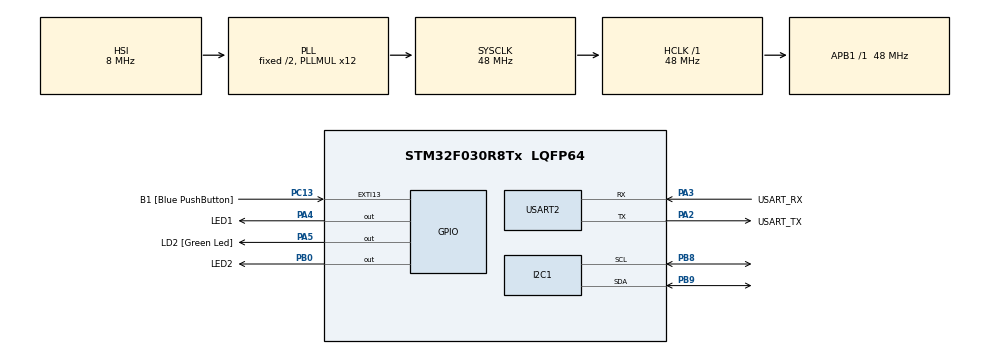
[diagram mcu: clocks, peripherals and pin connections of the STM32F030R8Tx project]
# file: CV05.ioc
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Dma.Request0=USART2_RX
Dma.USART2_RX.0.Direction=DMA_PERIPH_TO_MEMORY
Dma.USART2_RX.0.Instance=DMA1_Channel5
Dma.USART2_RX.0.MemDataAlignment=DMA_MDATAALIGN_BYTE
Dma.USART2_RX.0.MemInc=DMA_MINC_ENABLE
Dma.USART2_RX.0.Mode=DMA_CIRCULAR
Dma.USART2_RX.0.PeriphDataAlignment=DMA_PDATAALIGN_BYTE
Dma.USART2_RX.0.PeriphInc=DMA_PINC_DISABLE
Dma.USART2_RX.0.Priority=DMA_PRIORITY_LOW
I2C1.Timing=0x00201D2B
Mcu.Family=STM32F0
Mcu.Name=STM32F030R8Tx
Mcu.Package=LQFP64
NVIC.DMA1_Channel4_5_IRQn=true\:0\:0\:false\:false\:true\:false\:true\:true
PA13.GPIO_Label=TMS
PA13.Mode=Serial_Wire
PA13.Signal=SYS_SWDIO
PA14.GPIO_Label=TCK
PA14.Mode=Serial_Wire
PA14.Signal=SYS_SWCLK
PA2.GPIO_Label=USART_TX
PA2.GPIO_Mode=GPIO_MODE_AF_PP
PA2.GPIO_PuPd=GPIO_NOPULL
PA2.GPIO_Speed=GPIO_SPEED_FREQ_LOW
PA2.Mode=Asynchronous
PA2.Signal=USART2_TX
PA3.GPIO_Label=USART_RX
PA3.GPIO_Mode=GPIO_MODE_AF_PP
PA3.GPIO_PuPd=GPIO_NOPULL
PA3.GPIO_Speed=GPIO_SPEED_FREQ_LOW
PA3.Mode=Asynchronous
PA3.Signal=USART2_RX
PA4.GPIO_Label=LED1
PA4.Signal=GPIO_Output
PA5.GPIO_Label=LD2 [Green Led]
PA5.GPIO_Mode=GPIO_MODE_OUTPUT_PP
PA5.GPIO_PuPd=GPIO_NOPULL
PA5.GPIO_Speed=GPIO_SPEED_FREQ_LOW
PA5.Signal=GPIO_Output
PB0.GPIO_Label=LED2
PB0.Signal=GPIO_Output
PB8.Mode=I2C
PB8.Signal=I2C1_SCL
PB9.Mode=I2C
PB9.Signal=I2C1_SDA
PC13.GPIO_Label=B1 [Blue PushButton]
PC13.GPIO_ModeDefaultEXTI=GPIO_MODE_IT_FALLING
PC13.Signal=GPXTI13
PC14-OSC32_IN.Mode=LSE-External-Oscillator
PC14-OSC32_IN.Signal=RCC_OSC32_IN
PC15-OSC32_OUT.Mode=LSE-External-Oscillator
PC15-OSC32_OUT.Signal=RCC_OSC32_OUT
PF0-OSC_IN.Mode=HSE-External-Clock-Source
PF0-OSC_IN.Signal=RCC_OSC_IN
PF1-OSC_OUT.Signal=RCC_OSC_OUT
ProjectManager.HeapSize=0x200
ProjectManager.StackSize=0x400
ProjectManager.TargetToolchain=STM32CubeIDE
RCC.AHBFreq_Value=48000000
RCC.APB1Freq_Value=48000000
RCC.APB1TimFreq_Value=48000000
RCC.HCLKFreq_Value=48000000
RCC.PLLMUL=RCC_PLL_MUL12
RCC.SYSCLKFreq_VALUE=48000000
RCC.SYSCLKSource=RCC_SYSCLKSOURCE_PLLCLK
USART2.VirtualMode-Asynchronous=VM_ASYNC
board=NUCLEO-F030R8

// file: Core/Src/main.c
/* USER CODE BEGIN Header */
/**
  ******************************************************************************
  * @file           : main.c
  * @brief          : Main program body
  ******************************************************************************
  * @attention
  *
  * Copyright (c) 2024 STMicroelectronics.
  * All rights reserved.
  *
  * This software is licensed under terms that can be found in the LICENSE file
  * in the root directory of this software component.
  * If no LICENSE file comes with this software, it is provided AS-IS.
  *
  ******************************************************************************
  */
/* USER CODE END Header */
#include "main.h"

/* USER CODE BEGIN Includes */
#include "stdio.h"
#include "string.h"
#include "stdlib.h"
/* USER CODE END Includes */

/* USER CODE BEGIN PD */
#define RX_BUFFER_LEN 64
static uint8_t uart_rx_buf[RX_BUFFER_LEN];
static volatile uint16_t uart_rx_read_ptr = 0;
#define uart_rx_write_ptr (RX_BUFFER_LEN - hdma_usart2_rx.Instance->CNDTR)
#define CMD_BUFFER_LEN 256
#define EEPROM_ADDR 0xA0
/* USER CODE END PD */

I2C_HandleTypeDef hi2c1;

UART_HandleTypeDef huart2;
DMA_HandleTypeDef hdma_usart2_rx;

void SystemClock_Config(void);
static void MX_GPIO_Init(void);
static void MX_DMA_Init(void);
static void MX_USART2_UART_Init(void);
static void MX_I2C1_Init(void);

/* USER CODE BEGIN 0 */
int _write(int file, char const *buf, int n)
{
	/* stdout redirection to UART2 */
	HAL_UART_Transmit(&huart2, (uint8_t*)(buf), n, HAL_MAX_DELAY);
	return n;
}

void uart_process_command(char * cmd)
{
	printf("received: '%s'\n", cmd);

	char *token;
	token = strtok(cmd, " ");
	if (strcasecmp(token, "HELLO") == 0) {
		printf("Communication OK\n");
	}
	else if (strcasecmp(token, "LED1") == 0) {
		token = strtok(NULL, " ");
		if (strcasecmp(token, "ON") == 0) {
			HAL_GPIO_WritePin(LED1_GPIO_Port,LED1_Pin,1);
		}
		else if (strcasecmp(token, "OFF") == 0) {
			HAL_GPIO_WritePin(LED1_GPIO_Port,LED1_Pin,0);
		}
		printf("OK\n");
	}
	else if (strcasecmp(token, "LED2") == 0){
		token = strtok(NULL, " ");
		if(strcasecmp(token, "ON") == 0){
			HAL_GPIO_WritePin(LED2_GPIO_Port,LED2_Pin,1);
		}
		else if (strcasecmp(token, "OFF") == 0) {
			HAL_GPIO_WritePin(LED2_GPIO_Port,LED2_Pin,0);
		}
		printf("OK\n");
	}
	else if(strcasecmp(token, "status") == 0){
		uint32_t status_LED1 = HAL_GPIO_ReadPin(LED1_GPIO_Port, LED1_Pin);
		uint32_t status_LED2 = HAL_GPIO_ReadPin(LED2_GPIO_Port, LED2_Pin);
		printf("LEDs status is %s %s\n", status_LED1 ? "on" : "off", status_LED2 ? "on" : "off");
	}

	/*I2C*/
	else if(strcasecmp(token, "READ") == 0){
		token = strtok(NULL, " ");
		uint16_t  addr = atoi(token);
		uint8_t value = 0;
		HAL_I2C_Mem_Read(&hi2c1, EEPROM_ADDR, addr, I2C_MEMADD_SIZE_16BIT, &value, 1, 1000);
		printf("Adress 0x%04X = 0x%02X\n", addr,value);
	}
	else if(strcasecmp(token,"WRITE") == 0){
		token = strtok(NULL, " ");
		uint16_t addr = atoi(token);
		token = strtok(NULL, " ");
		uint8_t value = atoi(token);
		HAL_I2C_Mem_Write(&hi2c1, EEPROM_ADDR, addr, I2C_MEMADD_SIZE_16BIT, &value, 1, 1000);
		printf("OK\n");

	}
	else if(strcasecmp(token, "DUMP") == 0){
		strtok(NULL, " ");
		uint16_t addr = atoi(token);
		uint8_t dump[16];

		HAL_I2C_Mem_Read(&hi2c1, EEPROM_ADDR, addr, I2C_MEMADD_SIZE_16BIT, dump, 16, 1000);

		token = strtok(NULL, " ");
		for (uint8_t i = 0; i < 16; i++) {
			printf("%02X ", dump[i]);
		}
		printf("\n");
	}
}

static void uart_byte_available(uint8_t c)
{
	static uint16_t cnt;
	static char data[CMD_BUFFER_LEN];

	if(cnt < CMD_BUFFER_LEN && c >= 32 && c <= 126) data[cnt++] = c;
	if((c == '\n' || c == '\r') && cnt > 0) {
		data[cnt] = '\0';
		uart_process_command(data);
		cnt = 0;
	}
}
/* USER CODE END 0 */

int main(void)
{

  /* MCU Configuration--------------------------------------------------------*/

  /* Reset of all peripherals, Initializes the Flash interface and the Systick. */
  HAL_Init();

  /* Configure the system clock */
  SystemClock_Config();

  /* Initialize all configured peripherals */
  MX_GPIO_Init();
  MX_DMA_Init();
  MX_USART2_UART_Init();
  MX_I2C1_Init();

  /* Infinite loop */
  /* USER CODE BEGIN WHILE */
  HAL_UART_Receive_DMA(&huart2, uart_rx_buf, RX_BUFFER_LEN);
  while (1)
  {
	  while (uart_rx_read_ptr != uart_rx_write_ptr) {
	   uint8_t b = uart_rx_buf[uart_rx_read_ptr];
	   // increase read pointer
	   if (++uart_rx_read_ptr >= RX_BUFFER_LEN) uart_rx_read_ptr = 0;
	   // process every received byte with the RX state machine
	   uart_byte_available(b);
	  }
    /* USER CODE END WHILE */

  }
}

void SystemClock_Config(void)
{
  RCC_OscInitTypeDef RCC_OscInitStruct = {0};
  RCC_ClkInitTypeDef RCC_ClkInitStruct = {0};
  RCC_PeriphCLKInitTypeDef PeriphClkInit = {0};

  /** Initializes the RCC Oscillators according to the specified parameters
  * in the RCC_OscInitTypeDef structure.
  */
  RCC_OscInitStruct.OscillatorType = RCC_OSCILLATORTYPE_HSI;
  RCC_OscInitStruct.HSIState = RCC_HSI_ON;
  RCC_OscInitStruct.HSICalibrationValue = RCC_HSICALIBRATION_DEFAULT;
  RCC_OscInitStruct.PLL.PLLState = RCC_PLL_ON;
  RCC_OscInitStruct.PLL.PLLSource = RCC_PLLSOURCE_HSI;
  RCC_OscInitStruct.PLL.PLLMUL = RCC_PLL_MUL12;
  RCC_OscInitStruct.PLL.PREDIV = RCC_PREDIV_DIV1;
  if (HAL_RCC_OscConfig(&RCC_OscInitStruct) != HAL_OK)
  {
    Error_Handler();
  }

  /** Initializes the CPU, AHB and APB buses clocks
  */
  RCC_ClkInitStruct.ClockType = RCC_CLOCKTYPE_HCLK|RCC_CLOCKTYPE_SYSCLK
                              |RCC_CLOCKTYPE_PCLK1;
  RCC_ClkInitStruct.SYSCLKSource = RCC_SYSCLKSOURCE_PLLCLK;
  RCC_ClkInitStruct.AHBCLKDivider = RCC_SYSCLK_DIV1;
  RCC_ClkInitStruct.APB1CLKDivider = RCC_HCLK_DIV1;

  if (HAL_RCC_ClockConfig(&RCC_ClkInitStruct, FLASH_LATENCY_1) != HAL_OK)
  {
    Error_Handler();
  }
  PeriphClkInit.PeriphClockSelection = RCC_PERIPHCLK_I2C1;
  PeriphClkInit.I2c1ClockSelection = RCC_I2C1CLKSOURCE_HSI;
  if (HAL_RCCEx_PeriphCLKConfig(&PeriphClkInit) != HAL_OK)
  {
    Error_Handler();
  }
}

static void MX_I2C1_Init(void)
{

  hi2c1.Instance = I2C1;
  hi2c1.Init.Timing = 0x00201D2B;
  hi2c1.Init.OwnAddress1 = 0;
  hi2c1.Init.AddressingMode = I2C_ADDRESSINGMODE_7BIT;
  hi2c1.Init.DualAddressMode = I2C_DUALADDRESS_DISABLE;
  hi2c1.Init.OwnAddress2 = 0;
  hi2c1.Init.OwnAddress2Masks = I2C_OA2_NOMASK;
  hi2c1.Init.GeneralCallMode = I2C_GENERALCALL_DISABLE;
  hi2c1.Init.NoStretchMode = I2C_NOSTRETCH_DISABLE;
  if (HAL_I2C_Init(&hi2c1) != HAL_OK)
  {
    Error_Handler();
  }

  /** Configure Analogue filter
  */
  if (HAL_I2CEx_ConfigAnalogFilter(&hi2c1, I2C_ANALOGFILTER_ENABLE) != HAL_OK)
  {
    Error_Handler();
  }

  /** Configure Digital filter
  */
  if (HAL_I2CEx_ConfigDigitalFilter(&hi2c1, 0) != HAL_OK)
  {
    Error_Handler();
  }

}

static void MX_USART2_UART_Init(void)
{

  huart2.Instance = USART2;
  huart2.Init.BaudRate = 38400;
  huart2.Init.WordLength = UART_WORDLENGTH_8B;
  huart2.Init.StopBits = UART_STOPBITS_1;
  huart2.Init.Parity = UART_PARITY_NONE;
  huart2.Init.Mode = UART_MODE_TX_RX;
  huart2.Init.HwFlowCtl = UART_HWCONTROL_NONE;
  huart2.Init.OverSampling = UART_OVERSAMPLING_16;
  huart2.Init.OneBitSampling = UART_ONE_BIT_SAMPLE_DISABLE;
  huart2.AdvancedInit.AdvFeatureInit = UART_ADVFEATURE_NO_INIT;
  if (HAL_UART_Init(&huart2) != HAL_OK)
  {
    Error_Handler();
  }

}

static void MX_DMA_Init(void)
{

  /* DMA controller clock enable */
  __HAL_RCC_DMA1_CLK_ENABLE();

  /* DMA interrupt init */
  /* DMA1_Channel4_5_IRQn interrupt configuration */
  HAL_NVIC_SetPriority(DMA1_Channel4_5_IRQn, 0, 0);
  HAL_NVIC_EnableIRQ(DMA1_Channel4_5_IRQn);

}

static void MX_GPIO_Init(void)
{
  GPIO_InitTypeDef GPIO_InitStruct = {0};

  /* GPIO Ports Clock Enable */
  __HAL_RCC_GPIOC_CLK_ENABLE();
  __HAL_RCC_GPIOF_CLK_ENABLE();
  __HAL_RCC_GPIOA_CLK_ENABLE();
  __HAL_RCC_GPIOB_CLK_ENABLE();

  /*Configure GPIO pin Output Level */
  HAL_GPIO_WritePin(GPIOA, LED1_Pin|LD2_Pin, GPIO_PIN_RESET);

  /*Configure GPIO pin Output Level */
  HAL_GPIO_WritePin(LED2_GPIO_Port, LED2_Pin, GPIO_PIN_RESET);

  /*Configure GPIO pin : B1_Pin */
  GPIO_InitStruct.Pin = B1_Pin;
  GPIO_InitStruct.Mode = GPIO_MODE_IT_FALLING;
  GPIO_InitStruct.Pull = GPIO_NOPULL;
  HAL_GPIO_Init(B1_GPIO_Port, &GPIO_InitStruct);

  /*Configure GPIO pins : LED1_Pin LD2_Pin */
  GPIO_InitStruct.Pin = LED1_Pin|LD2_Pin;
  GPIO_InitStruct.Mode = GPIO_MODE_OUTPUT_PP;
  GPIO_InitStruct.Pull = GPIO_NOPULL;
  GPIO_InitStruct.Speed = GPIO_SPEED_FREQ_LOW;
  HAL_GPIO_Init(GPIOA, &GPIO_InitStruct);

  /*Configure GPIO pin : LED2_Pin */
  GPIO_InitStruct.Pin = LED2_Pin;
  GPIO_InitStruct.Mode = GPIO_MODE_OUTPUT_PP;
  GPIO_InitStruct.Pull = GPIO_NOPULL;
  GPIO_InitStruct.Speed = GPIO_SPEED_FREQ_LOW;
  HAL_GPIO_Init(LED2_GPIO_Port, &GPIO_InitStruct);

}

void Error_Handler(void)
{
  __disable_irq();
  while (1)
  {
  }
}
